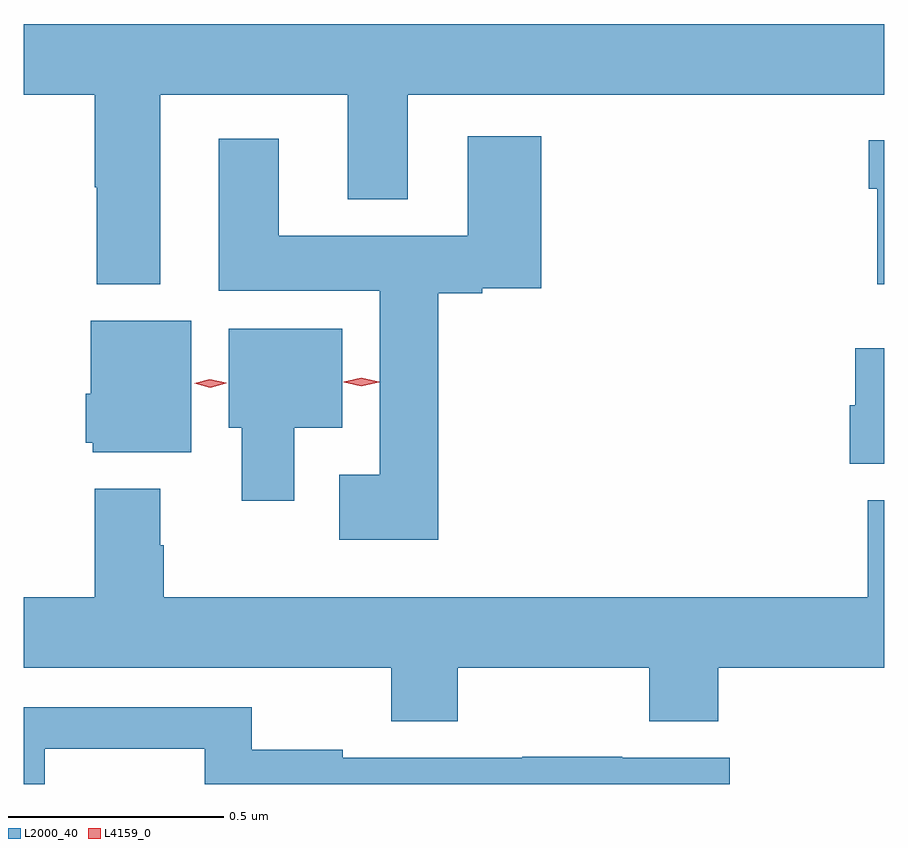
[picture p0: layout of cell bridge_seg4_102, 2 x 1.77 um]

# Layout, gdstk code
import gdstk
lib = gdstk.Library(unit=1e-6, precision=1e-09)
def P(c, l, *ps):  # polygons
    for p in ps: c.add(gdstk.Polygon(p, *l))
L2000_40 = (2000, 40)
L4159_0 = (4159, 0)

bridge_seg4_102 = lib.new_cell('bridge_seg4_102')
P(bridge_seg4_102, L2000_40, [(421.483,804.812),(421.919,804.812),(421.919,804.569),(422.059,804.569),(422.059,804.812),(423.166,804.812),(423.166,804.976),(421.166,804.976),(421.166,804.812),(421.331,804.812),(421.331,804.597),(421.336,804.597),(421.336,804.371),(421.483,804.371)],
  [(422.129,804.35),(422.232,804.35),(422.232,804.362),(422.369,804.362),(422.369,804.715),(422.198,804.715),(422.198,804.484),(421.759,804.484),(421.759,804.709),(421.619,804.709),(421.619,804.356),(421.994,804.356),(421.994,803.929),(421.899,803.929),(421.899,803.777),(422.129,803.777)],
  [(423.166,804.706),(423.13,804.706),(423.13,804.593),(423.15,804.593),(423.15,804.371),(423.166,804.371)],
  [(421.555,804.286),(421.322,804.286),(421.322,804.117),(421.31,804.117),(421.31,804.003),(421.326,804.003),(421.326,803.981),(421.555,803.981)],
  [(421.795,804.038),(421.906,804.038),(421.906,804.268),(421.643,804.268),(421.643,804.038),(421.673,804.038),(421.673,803.868),(421.795,803.868)],
  [(423.166,804.223),(423.098,804.223),(423.098,804.09),(423.086,804.09),(423.086,803.954),(423.166,803.954)],
  [(422.175,803.48),(422.62,803.48),(422.62,803.356),(422.78,803.356),(422.78,803.48),(423.166,803.48),(423.166,803.869),(423.127,803.869),(423.127,803.644),(421.491,803.644),(421.491,803.765),(421.483,803.765),(421.483,803.896),(421.331,803.896),(421.331,803.644),(421.166,803.644),(421.166,803.48),(422.02,803.48),(422.02,803.356),(422.175,803.356)],
  [(421.215,803.292),(421.587,803.292),(421.587,803.21),(422.807,803.21),(422.807,803.271),(422.557,803.271),(422.557,803.273),(422.325,803.273),(422.325,803.271),(421.908,803.271),(421.908,803.29),(421.696,803.29),(421.696,803.388),(421.166,803.388),(421.166,803.21),(421.215,803.21)])
P(bridge_seg4_102, L4159_0, [(421.6,804.131),(421.562,804.141),(421.562,804.141),(421.562,804.141),(421.599,804.151),(421.637,804.142),(421.637,804.141),(421.637,804.141)],
  [(421.951,804.134),(421.91,804.144),(421.91,804.144),(421.91,804.145),(421.951,804.154),(421.992,804.145),(421.992,804.144),(421.992,804.144)])

lib.write_gds('bridge_seg4_102.gds')
